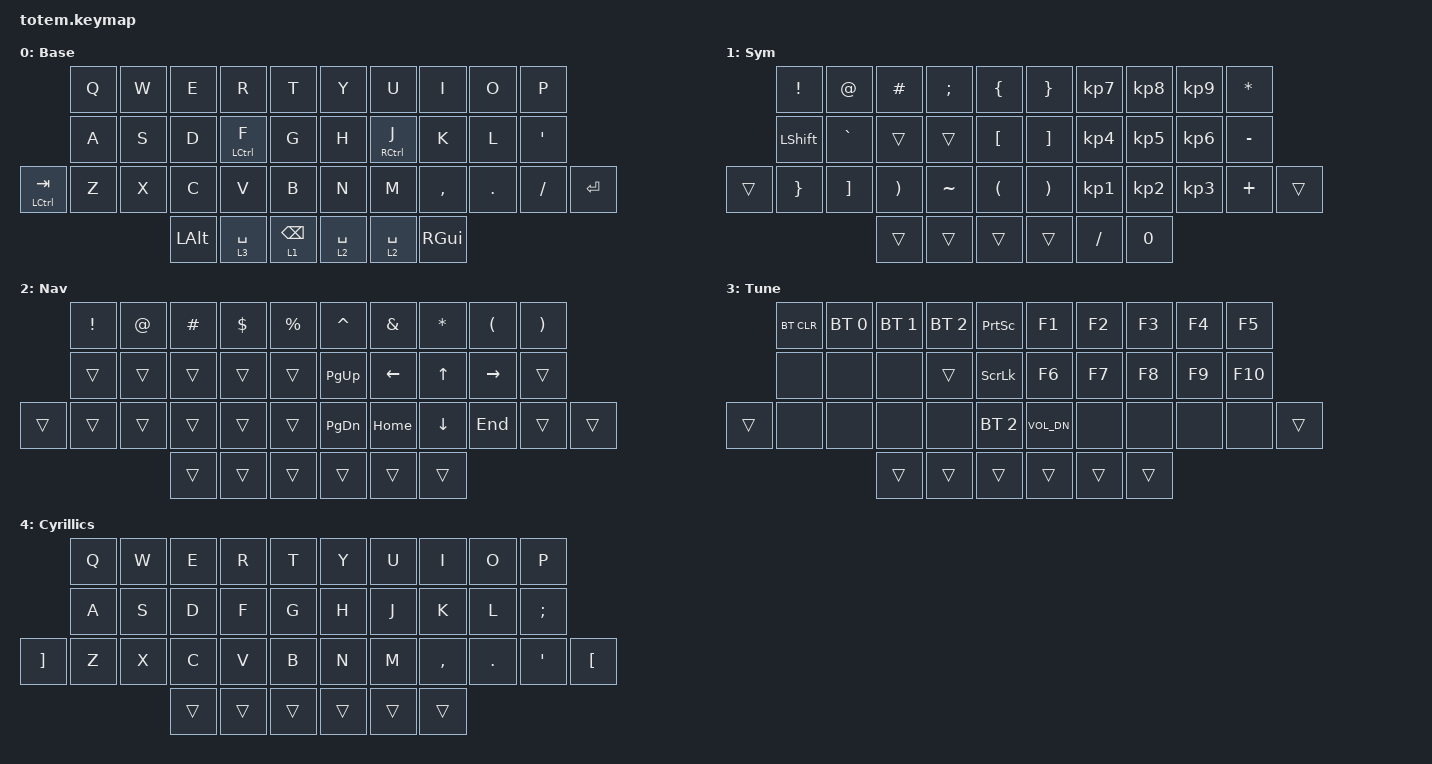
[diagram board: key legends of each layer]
//
//                                                        ▀▀▀▀▀     ▀▀▀▀▀          ▀▀█▀▀
//                                                        ▄▀▀▀▄  ▄  ▄▀▀▀▄  ▄  ▄▀▀▀▄  █  ▄▀▀▀▄
//                                                        █   █  █  █   █  █  █   █  █  █   █
//                                                         ▀▀▀   █   ▀▀▀   █   ▀▀▀   ▀   ▀▀▀
//                                                               █      ▄▄▄█▄▄▄    █   █  
//                                                               ▀      █  █  █     █▄█
//                                                             ▀▀▀▀▀    █  █  █      ▀
//                                                                      ▀  ▀  ▀
//
// ▄▄▄▄▄▄▄▄▄▄▄▄▄▄▄▄▄▄▄▄▄▄▄▄▄▄▄▄▄▄▄▄▄▄▄▄▄▄▄▄▄▄▄▄▄▄▄▄▄▄▄▄▄▄▄▄▄▄▄▄▄▄▄▄▄▄▄▄▄▄▄▄▄▄▄▄▄▄▄▄▄▄▄▄▄▄▄▄▄▄▄▄▄▄▄▄▄▄▄▄▄▄▄▄▄▄▄▄▄▄▄▄▄▄▄▄▄▄▄▄▄▄▄▄▄▄▄▄▄▄▄▄▄▄▄▄▄▄▄▄▄▄▄▄▄▄▄▄▄

#include <behaviors.dtsi>
#include <dt-bindings/zmk/bt.h>
#include <dt-bindings/zmk/keys.h>

&mt {
    quick-tap-ms = <100>;
    global-quick-tap;
    flavor = "tap-preferred";
    tapping-term-ms = <170>;
};

&lt {
    tapping-term-ms = <240>;
    flavor = "balanced";
    quick-tap-ms = <150>;
};

/ {
    behaviors {
        hm: homerow_mods {
            compatible = "zmk,behavior-hold-tap";
            label = "HOMEROW_MODS";
            #binding-cells = <2>;
            flavor = "tap-preferred";
            tapping-term-ms = <150>;
            global-quick-tap;
            bindings = <&kp>, <&kp>;

            hold-while-undecided;
            hold-trigger-on-release;
        };

        hml: hml {
            compatible = "zmk,behavior-hold-tap";
            label = "HML";
            bindings = <&kp>, <&kp>;

            #binding-cells = <2>;
            tapping-term-ms = <150>;
            flavor = "hold-preferred";
            hold-trigger-on-release;
            hold-trigger-key-positions = <20 0 1 2 3 4 10 11 12 13 14 25 24 23 22 21 32 33 34 35 36 37>;
            hold-while-undecided;
        };

        hmr: hmr {
            compatible = "zmk,behavior-hold-tap";
            label = "HMR";
            bindings = <&kp>, <&kp>;

            #binding-cells = <2>;
            tapping-term-ms = <150>;
            flavor = "hold-preferred";
            hold-trigger-on-release;
            hold-trigger-key-positions = <32 33 34 35 36 37 15 5 26 27 16 7 6 17 28 8 18 29 9 19 30 31>;
            hold-while-undecided;
        };

        hmcr: hmcr {
            compatible = "zmk,behavior-hold-tap";
            label = "HMCR";
            bindings = <&kp>, <&kp>;

            #binding-cells = <2>;
            tapping-term-ms = <200>;
            flavor = "hold-preferred";
            hold-trigger-on-release;
            hold-trigger-key-positions = <0 1 2 3 4 10 11 12 13 14 25 24 23 22 21 32 33 34 35 36 37 5>;
            hold-while-undecided;
        };
    };

    combos {
        compatible = "zmk,combos";

        refresh {
            bindings = <&kp F5>;
            key-positions = <3 4>;
        };

        xcape {
            bindings = <&kp ESCAPE>;
            key-positions = <4 5>;
        };

        insertion {
            bindings = <&kp F6>;
            key-positions = <5 6>;
        };

        FF4 {
            bindings = <&kp F4>;
            key-positions = <14 15>;
        };

        FF2 {
            bindings = <&kp F2>;
            key-positions = <25 26>;
        };
    };

    macros {
        mypw: mypw {
            compatible = "zmk,behavior-macro";
            #binding-cells = <0>;
            bindings =
                <&macro_press>,
                <&kp LS(I) &kp O &kp A &kp N &kp N3 &kp N2 &kp N3 &kp N1 &kp N5 &kp RBKT>,
                <&macro_press>,
                <&kp ENTER>,
                <&macro_release>;

            label = "MYPW";
        };

        misispw: misispw {
            compatible = "zmk,behavior-macro";
            #binding-cells = <0>;
            bindings =
                <&macro_press>,
                <&kp LS(J) &kp A &kp P &kp A &kp N &kp N &kp O &kp V &kp E &kp M &kp B &kp E &kp R &kp N2 &kp N0 &kp N2 &kp N6 &kp STAR>,
                <&macro_press>,
                <&kp ENTER>,
                <&macro_release>;

            label = "MISISPW";
        };
    };

    keymap {
        compatible = "zmk,keymap";

        Base {
            label = "Base";
            bindings = <
                 &kp Q  &kp W  &kp E         &kp R         &kp T              &kp Y        &kp U         &kp I          &kp O    &kp P
                 &kp A  &kp S  &kp D         &hml LCTRL F  &kp G              &kp H        &hmr RCTRL J  &kp K          &kp L    &kp APOS
&hmcr LCTRL TAB  &kp Z  &kp X  &kp C         &kp V         &kp B              &kp N        &kp M         &kp COMMA      &kp DOT  &kp SLASH  &kp ENTER
                               &kp LEFT_ALT  &lt 3 SPACE   &lt 1 BACKSPACE    &lt 2 SPACE  &lt 2 SPACE   &kp RIGHT_GUI
            >;
        };

        Sym {
            label = "Sym";
            bindings = <
        &kp EXCLAMATION  &kp AT             &kp POUND              &kp SEMICOLON  &kp LBRC    &kp RIGHT_BRACE        &kp KP_NUMBER_7  &kp KP_NUMBER_8  &kp KP_NUMBER_9  &kp ASTERISK
        &kp LEFT_SHIFT   &kp GRAVE          &trans                 &trans         &kp LBKT    &kp RIGHT_BRACKET      &kp KP_NUMBER_4  &kp KP_NUMBER_5  &kp KP_NUMBER_6  &kp MINUS
&trans  &kp RIGHT_BRACE  &kp RIGHT_BRACKET  &kp RIGHT_PARENTHESIS  &kp TILDE      &kp LPAR    &kp RIGHT_PARENTHESIS  &kp KP_NUMBER_1  &kp KP_NUMBER_2  &kp KP_NUMBER_3  &kp PLUS      &trans
                                            &trans                 &trans         &trans      &trans                 &kp SLASH        &kp NUMBER_0
            >;
        };

        Nav {
            label = "Nav";
            bindings = <
        &kp EXCL  &kp AT  &kp HASH  &kp DOLLAR  &kp PERCENT    &kp CARET      &kp AMPS        &kp STAR        &kp LEFT_PARENTHESIS  &kp RIGHT_PARENTHESIS
        &trans    &trans  &trans    &trans      &trans         &kp PAGE_UP    &kp LEFT_ARROW  &kp UP          &kp RIGHT             &trans
&trans  &trans    &trans  &trans    &trans      &trans         &kp PAGE_DOWN  &kp HOME        &kp DOWN_ARROW  &kp END               &trans                 &trans
                          &trans    &trans      &trans         &trans         &trans          &trans
            >;
        };

        Tune {
            bindings = <
        &bt BT_CLR  &bt BT_SEL 0  &bt BT_SEL 1  &bt BT_SEL 2  &kp PRINTSCREEN    &kp F1        &kp F2  &kp F3  &kp F4  &kp F5
        &none       &none         &none         &trans        &kp SCROLLLOCK     &kp F6        &kp F7  &kp F8  &kp F9  &kp F10
&trans  &none       &none         &none         &none         &bt BT_SEL 2       &kp C_VOL_DN  &none   &none   &none   &none    &trans
                                  &trans        &trans        &trans             &trans        &trans  &trans
            >;

            label = "Tune";
        };

        Cyr {
            bindings = <
          &kp Q  &kp W  &kp E   &kp R   &kp T     &kp Y   &kp U   &kp I      &kp O    &kp P
          &kp A  &kp S  &kp D   &kp F   &kp G     &kp H   &kp J   &kp K      &kp L    &kp SEMI
&kp RBKT  &kp Z  &kp X  &kp C   &kp V   &kp B     &kp N   &kp M   &kp COMMA  &kp DOT  &kp APOS  &kp LBKT
                        &trans  &trans  &trans    &trans  &trans  &trans
            >;

            label = "Cyrillics";
        };
    };

    conditional_layers {
        compatible = "zmk,conditional-layers";

        raise_lower {
            if-layers = <2 1>;
            then-layer = <3>;
        };
    };
};
